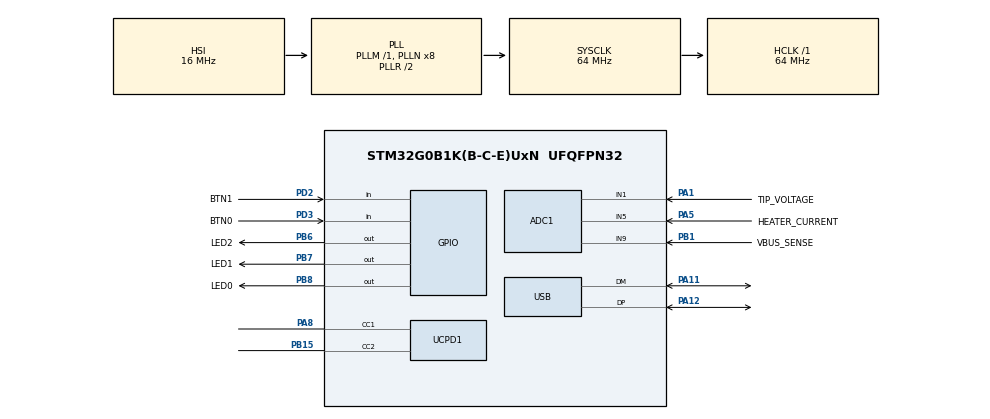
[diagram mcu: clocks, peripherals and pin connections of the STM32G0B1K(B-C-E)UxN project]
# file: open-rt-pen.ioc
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ADC1.ClockPrescaler=ADC_CLOCK_ASYNC_DIV32
ADC1.ContinuousConvMode=ENABLE
ADC1.DMAContinuousRequests=ENABLE
ADC1.EOCSelection=ADC_EOC_SEQ_CONV
ADC1.ExternalTrigConv=ADC_SOFTWARE_START
ADC1.NbrOfConversion=1
ADC1.NbrOfConversionFlag=0
ADC1.Overrun=ADC_OVR_DATA_OVERWRITTEN
ADC1.SamplingTimeCommon1=ADC_SAMPLETIME_160CYCLES_5
ADC1.SelectedChannel=ADC_CHANNEL_1|ADC_CHANNEL_5|ADC_CHANNEL_TEMPSENSOR|ADC_CHANNEL_VREFINT|ADC_CHANNEL_9|ADC_CHANNEL_VBAT
ADC1.Sequencer=NOT_FULLY_CONFIGURABLE
ADC1.master=1
Dma.ADC1.0.Direction=DMA_PERIPH_TO_MEMORY
Dma.ADC1.0.EventEnable=DISABLE
Dma.ADC1.0.Instance=DMA1_Channel1
Dma.ADC1.0.MemDataAlignment=DMA_MDATAALIGN_HALFWORD
Dma.ADC1.0.MemInc=DMA_MINC_ENABLE
Dma.ADC1.0.Mode=DMA_CIRCULAR
Dma.ADC1.0.PeriphDataAlignment=DMA_PDATAALIGN_HALFWORD
Dma.ADC1.0.PeriphInc=DMA_PINC_DISABLE
Dma.ADC1.0.Polarity=HAL_DMAMUX_REQ_GEN_RISING
Dma.ADC1.0.Priority=DMA_PRIORITY_LOW
Dma.ADC1.0.RequestNumber=1
Dma.ADC1.0.SignalID=NONE
Dma.ADC1.0.SyncEnable=DISABLE
Dma.ADC1.0.SyncPolarity=HAL_DMAMUX_SYNC_NO_EVENT
Dma.ADC1.0.SyncRequestNumber=1
Dma.ADC1.0.SyncSignalID=NONE
Dma.Request0=ADC1
Dma.Request1=UCPD1_RX
Dma.Request2=UCPD1_TX
Dma.UCPD1_RX.1.Direction=DMA_PERIPH_TO_MEMORY
Dma.UCPD1_RX.1.EventEnable=DISABLE
Dma.UCPD1_RX.1.Instance=DMA1_Channel2
Dma.UCPD1_RX.1.MemDataAlignment=DMA_MDATAALIGN_BYTE
Dma.UCPD1_RX.1.MemInc=DMA_MINC_ENABLE
Dma.UCPD1_RX.1.Mode=DMA_NORMAL
Dma.UCPD1_RX.1.PeriphDataAlignment=DMA_PDATAALIGN_BYTE
Dma.UCPD1_RX.1.PeriphInc=DMA_PINC_DISABLE
Dma.UCPD1_RX.1.Polarity=HAL_DMAMUX_REQ_GEN_RISING
Dma.UCPD1_RX.1.Priority=DMA_PRIORITY_LOW
Dma.UCPD1_RX.1.RequestNumber=1
Dma.UCPD1_RX.1.SignalID=NONE
Dma.UCPD1_RX.1.SyncEnable=DISABLE
Dma.UCPD1_RX.1.SyncPolarity=HAL_DMAMUX_SYNC_NO_EVENT
Dma.UCPD1_RX.1.SyncRequestNumber=1
Dma.UCPD1_RX.1.SyncSignalID=NONE
Dma.UCPD1_TX.2.Direction=DMA_MEMORY_TO_PERIPH
Dma.UCPD1_TX.2.EventEnable=DISABLE
Dma.UCPD1_TX.2.Instance=DMA1_Channel3
Dma.UCPD1_TX.2.MemDataAlignment=DMA_MDATAALIGN_BYTE
Dma.UCPD1_TX.2.MemInc=DMA_MINC_ENABLE
Dma.UCPD1_TX.2.Mode=DMA_NORMAL
Dma.UCPD1_TX.2.PeriphDataAlignment=DMA_PDATAALIGN_BYTE
Dma.UCPD1_TX.2.PeriphInc=DMA_PINC_DISABLE
Dma.UCPD1_TX.2.Polarity=HAL_DMAMUX_REQ_GEN_RISING
Dma.UCPD1_TX.2.Priority=DMA_PRIORITY_LOW
Dma.UCPD1_TX.2.RequestNumber=1
Dma.UCPD1_TX.2.SignalID=NONE
Dma.UCPD1_TX.2.SyncEnable=DISABLE
Dma.UCPD1_TX.2.SyncPolarity=HAL_DMAMUX_SYNC_NO_EVENT
Dma.UCPD1_TX.2.SyncRequestNumber=1
Dma.UCPD1_TX.2.SyncSignalID=NONE
FREERTOS.Tasks01=defaultTask,24,128,StartDefaultTask,Default,NULL,Dynamic,NULL,NULL
FREERTOS.configENABLE_FPU=0
FREERTOS.configTOTAL_HEAP_SIZE=5000
FREERTOS.configUSE_NEWLIB_REENTRANT=1
Mcu.Family=STM32G0
Mcu.Name=STM32G0B1K(B-C-E)UxN
Mcu.Package=UFQFPN32
Mcu.UserConstants=ADC1_NO_CHANNELS,6
NVIC.DMA1_Channel2_3_IRQn=true\:3\:0\:false\:false\:true\:true\:true\:true\:true
NVIC.TIM2_IRQn=true\:3\:0\:false\:false\:true\:false\:false\:true\:true
NVIC.TimeBase=TIM2_IRQn
NVIC.TimeBaseIP=TIM2
NVIC.USB_UCPD1_2_IRQn=true\:3\:0\:false\:false\:true\:true\:true\:true\:true
PA1.GPIO_Label=TIP_VOLTAGE
PA1.Mode=IN1
PA1.Signal=ADC1_IN1
PA11\ [PA9].Mode=Device
PA11\ [PA9].Signal=USB_DM
PA12\ [PA10].Mode=Device
PA12\ [PA10].Signal=USB_DP
PA5.GPIO_Label=HEATER_CURRENT
PA5.Mode=IN5
PA5.Signal=ADC1_IN5
PA8.Mode=Sink_AllSignals
PA8.Signal=UCPD1_CC1
PB1.GPIO_Label=VBUS_SENSE
PB1.Mode=IN9
PB1.Signal=ADC1_IN9
PB15.Mode=Sink_AllSignals
PB15.Signal=UCPD1_CC2
PB6.GPIO_Label=LED2
PB6.Signal=GPIO_Output
PB7.GPIO_Label=LED1
PB7.Signal=GPIO_Output
PB8.GPIO_Label=LED0
PB8.Signal=GPIO_Output
PD2.GPIO_Label=BTN1
PD2.GPIO_PuPd=GPIO_PULLUP
PD2.Signal=GPIO_Input
PD3.GPIO_Label=BTN0
PD3.GPIO_PuPd=GPIO_PULLUP
PD3.Signal=GPIO_Input
ProjectManager.HeapSize=0x500
ProjectManager.StackSize=0x400
ProjectManager.TargetToolchain=STM32CubeIDE
RCC.ADCFreq_Value=64000000
RCC.AHBFreq_Value=64000000
RCC.CortexFreq_Value=64000000
RCC.EXTERNAL_CLOCK_VALUE=48000
RCC.HCLKFreq_Value=64000000
RCC.HSE_VALUE=8000000
RCC.HSI48_VALUE=48000000
RCC.HSI_VALUE=16000000
RCC.LSE_VALUE=32768
RCC.SYSCLKFreq_VALUE=64000000
RCC.SYSCLKSource=RCC_SYSCLKSOURCE_PLLCLK
RCC.USBFreq_Value=48000000
RCC.VCOOutputFreq_Value=128000000
USBPD.PORT0_SINK_PDO1=0x2603C12C
USB_DEVICE.CLASS_NAME_FS=CDC
USB_DEVICE.VirtualMode=Cdc
USB_DEVICE.VirtualModeFS=Cdc_FS
VP_ADC1_TempSens_Input.Mode=IN-TempSens
VP_ADC1_Vbat_Input.Mode=IN-Vbat
VP_ADC1_Vref_Input.Mode=IN-Vrefint
VP_FREERTOS_VS_CMSIS_V2.Mode=CMSIS_V2
VP_SYS_VS_DBSignals.Mode=DisableDeadBatterySignals
VP_SYS_VS_tim2.Mode=TIM2
VP_USBPD_VS_PD3FULL.Mode=PD3_Full_Stack
VP_USBPD_VS_USBPD1.Mode=USBPD_P0
VP_USBPD_VS_usbpd_tim1.Mode=TIM1
VP_USBPD_VS_usbpd_usb_cohabitation.Mode=Enable USB Support
VP_USB_DEVICE_VS_USB_DEVICE_CDC_FS.Mode=CDC_FS
board=custom

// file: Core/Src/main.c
/* USER CODE BEGIN Header */
/**
  ******************************************************************************
  * @file           : main.c
  * @brief          : Main program body
  ******************************************************************************
  * @attention
  *
  * Copyright (c) 2023 STMicroelectronics.
  * All rights reserved.
  *
  * This software is licensed under terms that can be found in the LICENSE file
  * in the root directory of this software component.
  * If no LICENSE file comes with this software, it is provided AS-IS.
  *
  ******************************************************************************
  */
/* USER CODE END Header */
#include "main.h"
#include "cmsis_os.h"
#include "usbpd.h"
#include "usb_device.h"

/* USER CODE BEGIN Includes */
#include "usbd_cdc_if.h"
/* USER CODE END Includes */

/* USER CODE BEGIN PD */
#define USB_BUFFER_SIZE								( 64 )

#define VDDA_AVERAGE_CYCLES							( 20 )
#define APPLY_EXT_VOLTAGE_DIVIDER_VBUS(x)			( ( x * 6667 ) / 1000 )
#define APPLY_INT_VOLTAGE_DIVIDER_VSUP(x)			( 3 * x )
#define APPLY_CURRENT_GAIN_TIP(x)					( ( 12085 * x ) / 1000 )
#define APPLY_VOLTAGE_GAIN_TIP(x)					( ( 1000 * x ) / 304 / 1000 )
/* USER CODE END PD */

 ADC_HandleTypeDef hadc1;
DMA_HandleTypeDef hdma_adc1;

/* Definitions for defaultTask */
osThreadId_t defaultTaskHandle;
const osThreadAttr_t defaultTask_attributes = {
  .name = "defaultTask",
  .priority = (osPriority_t) osPriorityNormal,
  .stack_size = 128 * 4
};
/* USER CODE BEGIN PV */

uint32_t vdda = 3300;
uint16_t bufferRaw_adc1[ADC1_NO_CHANNELS] = {0};
uint8_t buffer_usb[USB_BUFFER_SIZE] = {0};

/* USER CODE END PV */

void SystemClock_Config(void);
static void MX_GPIO_Init(void);
static void MX_DMA_Init(void);
static void MX_ADC1_Init(void);
static void MX_UCPD1_Init(void);
void StartDefaultTask(void *argument);

/* USER CODE BEGIN PFP */
static void HW_Init(void);
/* USER CODE END PFP */

int main(void)
{

  /* MCU Configuration--------------------------------------------------------*/

  /* Reset of all peripherals, Initializes the Flash interface and the Systick. */
  HAL_Init();

  /* Configure the system clock */
  SystemClock_Config();

  /* Initialize all configured peripherals */
  MX_GPIO_Init();
  MX_DMA_Init();
  MX_ADC1_Init();
  MX_USB_Device_Init();
  MX_UCPD1_Init();
  /* USER CODE BEGIN 2 */
  HW_Init();
  /* USER CODE END 2 */

  /* Init scheduler */
  osKernelInitialize();
  /* USBPD initialisation ---------------------------------*/
  MX_USBPD_Init();

  /* Create the thread(s) */
  /* creation of defaultTask */
  defaultTaskHandle = osThreadNew(StartDefaultTask, NULL, &defaultTask_attributes);

  /* Start scheduler */
  osKernelStart();

  /* We should never get here as control is now taken by the scheduler */
  /* Infinite loop */
  while (1)
  {

  }
}

void SystemClock_Config(void)
{
  RCC_OscInitTypeDef RCC_OscInitStruct = {0};
  RCC_ClkInitTypeDef RCC_ClkInitStruct = {0};

  /** Configure the main internal regulator output voltage
  */
  HAL_PWREx_ControlVoltageScaling(PWR_REGULATOR_VOLTAGE_SCALE1);

  /** Initializes the RCC Oscillators according to the specified parameters
  * in the RCC_OscInitTypeDef structure.
  */
  RCC_OscInitStruct.OscillatorType = RCC_OSCILLATORTYPE_HSI|RCC_OSCILLATORTYPE_HSI48;
  RCC_OscInitStruct.HSIState = RCC_HSI_ON;
  RCC_OscInitStruct.HSI48State = RCC_HSI48_ON;
  RCC_OscInitStruct.HSIDiv = RCC_HSI_DIV1;
  RCC_OscInitStruct.HSICalibrationValue = RCC_HSICALIBRATION_DEFAULT;
  RCC_OscInitStruct.PLL.PLLState = RCC_PLL_ON;
  RCC_OscInitStruct.PLL.PLLSource = RCC_PLLSOURCE_HSI;
  RCC_OscInitStruct.PLL.PLLM = RCC_PLLM_DIV1;
  RCC_OscInitStruct.PLL.PLLN = 8;
  RCC_OscInitStruct.PLL.PLLP = RCC_PLLP_DIV2;
  RCC_OscInitStruct.PLL.PLLQ = RCC_PLLQ_DIV2;
  RCC_OscInitStruct.PLL.PLLR = RCC_PLLR_DIV2;
  if (HAL_RCC_OscConfig(&RCC_OscInitStruct) != HAL_OK)
  {
    Error_Handler();
  }

  /** Initializes the CPU, AHB and APB buses clocks
  */
  RCC_ClkInitStruct.ClockType = RCC_CLOCKTYPE_HCLK|RCC_CLOCKTYPE_SYSCLK
                              |RCC_CLOCKTYPE_PCLK1;
  RCC_ClkInitStruct.SYSCLKSource = RCC_SYSCLKSOURCE_PLLCLK;
  RCC_ClkInitStruct.AHBCLKDivider = RCC_SYSCLK_DIV1;
  RCC_ClkInitStruct.APB1CLKDivider = RCC_HCLK_DIV1;

  if (HAL_RCC_ClockConfig(&RCC_ClkInitStruct, FLASH_LATENCY_2) != HAL_OK)
  {
    Error_Handler();
  }
}

static void MX_ADC1_Init(void)
{

  ADC_ChannelConfTypeDef sConfig = {0};

  /** Configure the global features of the ADC (Clock, Resolution, Data Alignment and number of conversion)
  */
  hadc1.Instance = ADC1;
  hadc1.Init.ClockPrescaler = ADC_CLOCK_ASYNC_DIV32;
  hadc1.Init.Resolution = ADC_RESOLUTION_12B;
  hadc1.Init.DataAlign = ADC_DATAALIGN_RIGHT;
  hadc1.Init.ScanConvMode = ADC_SCAN_SEQ_FIXED;
  hadc1.Init.EOCSelection = ADC_EOC_SEQ_CONV;
  hadc1.Init.LowPowerAutoWait = DISABLE;
  hadc1.Init.LowPowerAutoPowerOff = DISABLE;
  hadc1.Init.ContinuousConvMode = ENABLE;
  hadc1.Init.NbrOfConversion = 1;
  hadc1.Init.ExternalTrigConv = ADC_SOFTWARE_START;
  hadc1.Init.ExternalTrigConvEdge = ADC_EXTERNALTRIGCONVEDGE_NONE;
  hadc1.Init.DMAContinuousRequests = ENABLE;
  hadc1.Init.Overrun = ADC_OVR_DATA_OVERWRITTEN;
  hadc1.Init.SamplingTimeCommon1 = ADC_SAMPLETIME_160CYCLES_5;
  hadc1.Init.OversamplingMode = DISABLE;
  hadc1.Init.TriggerFrequencyMode = ADC_TRIGGER_FREQ_HIGH;
  if (HAL_ADC_Init(&hadc1) != HAL_OK)
  {
    Error_Handler();
  }

  /** Configure Regular Channel
  */
  sConfig.Channel = ADC_CHANNEL_1;
  sConfig.Rank = ADC_RANK_CHANNEL_NUMBER;
  if (HAL_ADC_ConfigChannel(&hadc1, &sConfig) != HAL_OK)
  {
    Error_Handler();
  }

  /** Configure Regular Channel
  */
  sConfig.Channel = ADC_CHANNEL_5;
  if (HAL_ADC_ConfigChannel(&hadc1, &sConfig) != HAL_OK)
  {
    Error_Handler();
  }

  /** Configure Regular Channel
  */
  sConfig.Channel = ADC_CHANNEL_TEMPSENSOR;
  if (HAL_ADC_ConfigChannel(&hadc1, &sConfig) != HAL_OK)
  {
    Error_Handler();
  }

  /** Configure Regular Channel
  */
  sConfig.Channel = ADC_CHANNEL_VREFINT;
  if (HAL_ADC_ConfigChannel(&hadc1, &sConfig) != HAL_OK)
  {
    Error_Handler();
  }

  /** Configure Regular Channel
  */
  sConfig.Channel = ADC_CHANNEL_9;
  if (HAL_ADC_ConfigChannel(&hadc1, &sConfig) != HAL_OK)
  {
    Error_Handler();
  }

  /** Configure Regular Channel
  */
  sConfig.Channel = ADC_CHANNEL_VBAT;
  if (HAL_ADC_ConfigChannel(&hadc1, &sConfig) != HAL_OK)
  {
    Error_Handler();
  }

}

static void MX_UCPD1_Init(void)
{

  LL_GPIO_InitTypeDef GPIO_InitStruct = {0};

  /* Peripheral clock enable */
  LL_APB1_GRP1_EnableClock(LL_APB1_GRP1_PERIPH_UCPD1);

  LL_IOP_GRP1_EnableClock(LL_IOP_GRP1_PERIPH_GPIOB);
  LL_IOP_GRP1_EnableClock(LL_IOP_GRP1_PERIPH_GPIOA);
  /**UCPD1 GPIO Configuration
  PB15   ------> UCPD1_CC2
  PA8   ------> UCPD1_CC1
  */
  GPIO_InitStruct.Pin = LL_GPIO_PIN_15;
  GPIO_InitStruct.Mode = LL_GPIO_MODE_ANALOG;
  GPIO_InitStruct.Pull = LL_GPIO_PULL_NO;
  LL_GPIO_Init(GPIOB, &GPIO_InitStruct);

  GPIO_InitStruct.Pin = LL_GPIO_PIN_8;
  GPIO_InitStruct.Mode = LL_GPIO_MODE_ANALOG;
  GPIO_InitStruct.Pull = LL_GPIO_PULL_NO;
  LL_GPIO_Init(GPIOA, &GPIO_InitStruct);

  /* UCPD1 DMA Init */

  /* UCPD1_RX Init */
  LL_DMA_SetPeriphRequest(DMA1, LL_DMA_CHANNEL_2, LL_DMAMUX_REQ_UCPD1_RX);

  LL_DMA_SetDataTransferDirection(DMA1, LL_DMA_CHANNEL_2, LL_DMA_DIRECTION_PERIPH_TO_MEMORY);

  LL_DMA_SetChannelPriorityLevel(DMA1, LL_DMA_CHANNEL_2, LL_DMA_PRIORITY_LOW);

  LL_DMA_SetMode(DMA1, LL_DMA_CHANNEL_2, LL_DMA_MODE_NORMAL);

  LL_DMA_SetPeriphIncMode(DMA1, LL_DMA_CHANNEL_2, LL_DMA_PERIPH_NOINCREMENT);

  LL_DMA_SetMemoryIncMode(DMA1, LL_DMA_CHANNEL_2, LL_DMA_MEMORY_INCREMENT);

  LL_DMA_SetPeriphSize(DMA1, LL_DMA_CHANNEL_2, LL_DMA_PDATAALIGN_BYTE);

  LL_DMA_SetMemorySize(DMA1, LL_DMA_CHANNEL_2, LL_DMA_MDATAALIGN_BYTE);

  /* UCPD1_TX Init */
  LL_DMA_SetPeriphRequest(DMA1, LL_DMA_CHANNEL_3, LL_DMAMUX_REQ_UCPD1_TX);

  LL_DMA_SetDataTransferDirection(DMA1, LL_DMA_CHANNEL_3, LL_DMA_DIRECTION_MEMORY_TO_PERIPH);

  LL_DMA_SetChannelPriorityLevel(DMA1, LL_DMA_CHANNEL_3, LL_DMA_PRIORITY_LOW);

  LL_DMA_SetMode(DMA1, LL_DMA_CHANNEL_3, LL_DMA_MODE_NORMAL);

  LL_DMA_SetPeriphIncMode(DMA1, LL_DMA_CHANNEL_3, LL_DMA_PERIPH_NOINCREMENT);

  LL_DMA_SetMemoryIncMode(DMA1, LL_DMA_CHANNEL_3, LL_DMA_MEMORY_INCREMENT);

  LL_DMA_SetPeriphSize(DMA1, LL_DMA_CHANNEL_3, LL_DMA_PDATAALIGN_BYTE);

  LL_DMA_SetMemorySize(DMA1, LL_DMA_CHANNEL_3, LL_DMA_MDATAALIGN_BYTE);

  /* UCPD1 interrupt Init */
  NVIC_SetPriority(USB_UCPD1_2_IRQn, 3);
  NVIC_EnableIRQ(USB_UCPD1_2_IRQn);

}

static void MX_DMA_Init(void)
{

  /* DMA controller clock enable */
  __HAL_RCC_DMA1_CLK_ENABLE();

  /* DMA interrupt init */
  /* DMA1_Channel2_3_IRQn interrupt configuration */
  NVIC_SetPriority(DMA1_Channel2_3_IRQn, 3);
  NVIC_EnableIRQ(DMA1_Channel2_3_IRQn);

}

static void MX_GPIO_Init(void)
{
  GPIO_InitTypeDef GPIO_InitStruct = {0};

  /* GPIO Ports Clock Enable */
  __HAL_RCC_GPIOA_CLK_ENABLE();
  __HAL_RCC_GPIOB_CLK_ENABLE();
  __HAL_RCC_GPIOD_CLK_ENABLE();

  /*Configure GPIO pin Output Level */
  HAL_GPIO_WritePin(GPIOB, LED2_Pin|LED1_Pin|LED0_Pin, GPIO_PIN_RESET);

  /*Configure GPIO pins : BTN1_Pin BTN0_Pin */
  GPIO_InitStruct.Pin = BTN1_Pin|BTN0_Pin;
  GPIO_InitStruct.Mode = GPIO_MODE_INPUT;
  GPIO_InitStruct.Pull = GPIO_PULLUP;
  HAL_GPIO_Init(GPIOD, &GPIO_InitStruct);

  /*Configure GPIO pins : LED2_Pin LED1_Pin LED0_Pin */
  GPIO_InitStruct.Pin = LED2_Pin|LED1_Pin|LED0_Pin;
  GPIO_InitStruct.Mode = GPIO_MODE_OUTPUT_PP;
  GPIO_InitStruct.Pull = GPIO_NOPULL;
  GPIO_InitStruct.Speed = GPIO_SPEED_FREQ_LOW;
  HAL_GPIO_Init(GPIOB, &GPIO_InitStruct);

}

/* USER CODE BEGIN 4 */
static void HW_Init(void)
{
	// ADC is configured to run freely and uses the dma to transfer its data to a buffer
	// Calibrate ADC and then start ADC
	HAL_ADCEx_Calibration_Start(&hadc1);
	HAL_ADC_Start_DMA(&hadc1, (uint32_t*) bufferRaw_adc1, ADC1_NO_CHANNELS);

	// Wait for everything to settle
	HAL_Delay(100);

	// Measure VDDA
	uint32_t vrefRaw = 0;

	// Measure and average
	for(uint32_t i = 0; i < VDDA_AVERAGE_CYCLES; i++)
	{
	  vrefRaw += bufferRaw_adc1[4];
	}

	vrefRaw /= VDDA_AVERAGE_CYCLES;
	vdda = __LL_ADC_CALC_VREFANALOG_VOLTAGE(vrefRaw, ADC_RESOLUTION12b);
}

int32_t HW_GetChipTemperature(void)
{
	return __LL_ADC_CALC_TEMPERATURE(vdda, bufferRaw_adc1[3], ADC_RESOLUTION12b);
}

int32_t HW_GetTipTemperature(void)
{
	uint32_t uvolt = __LL_ADC_CALC_DATA_TO_VOLTAGE(vdda, 1000 * bufferRaw_adc1[0], ADC_RESOLUTION12b);
	int32_t temp = (10 * uvolt) / 304 / 41;
	return temp;
}

uint32_t HW_GetTipCurrent(void)
{
	return APPLY_CURRENT_GAIN_TIP(bufferRaw_adc1[1]);
}

uint32_t HW_GetReferenceVoltage(void)
{
	return __LL_ADC_CALC_DATA_TO_VOLTAGE(vdda, bufferRaw_adc1[4], ADC_RESOLUTION12b);
}

uint32_t HW_GetSupplyVoltage(void)
{
	return APPLY_INT_VOLTAGE_DIVIDER_VSUP(
			__LL_ADC_CALC_DATA_TO_VOLTAGE(vdda, bufferRaw_adc1[5], ADC_RESOLUTION12b));
}

uint32_t HW_GetBusVoltage(void)
{
	return APPLY_EXT_VOLTAGE_DIVIDER_VBUS(
			__LL_ADC_CALC_DATA_TO_VOLTAGE(vdda, bufferRaw_adc1[3], ADC_RESOLUTION12b));
}

/* USER CODE END 4 */

void StartDefaultTask(void *argument)
{
  /* USER CODE BEGIN 5 */
  /* Infinite loop */
  for(;;)
  {
		uint8_t len = snprintf(
				(char*) buffer_usb, USB_BUFFER_SIZE,
				"Tip: %d °C, %d mA,Chip: %d °C, Vref: %d mV, Vsup: %d mV, Vbus: %d mV\r\n",
				HW_GetTipTemperature(),
				HW_GetTipCurrent(),
				HW_GetChipTemperature(),
				HW_GetReferenceVoltage(),
				HW_GetSupplyVoltage(),
				HW_GetBusVoltage()
			);

//		CDC_Transmit_FS(buffer_usb, len);
		CDC_Transmit_FS("Test\r\n",6);
		HAL_GPIO_TogglePin(LED0_GPIO_Port, LED0_Pin);
		osDelay(500);

  }
  /* USER CODE END 5 */
}

void HAL_TIM_PeriodElapsedCallback(TIM_HandleTypeDef *htim)
{
  if (htim->Instance == TIM2) {
    HAL_IncTick();
  }
}

void Error_Handler(void)
{
  __disable_irq();
  while (1)
  {
  }
}
